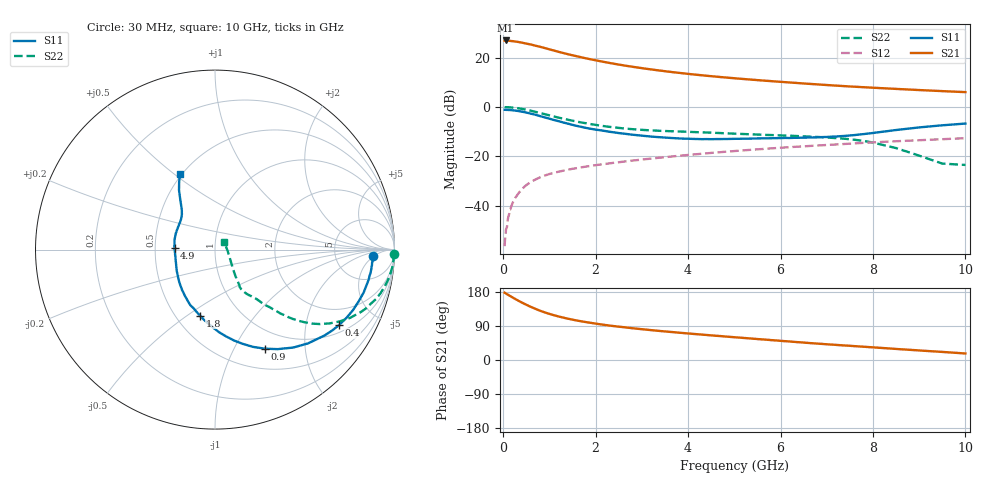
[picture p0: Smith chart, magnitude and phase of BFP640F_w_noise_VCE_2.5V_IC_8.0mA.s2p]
! Infineon Technologies  Discrete & RF Semiconductors
! BFP640F
! VCE =  2.5 V,  IC =  8.0 mA
! Common Emitter S-Parameters:  Apr 2013
# GHz  S  MA  R  50
!  f  S11  S21  S12  S22
! GHz  MAG  ANG  MAG  ANG  MAG  ANG  MAG  ANG
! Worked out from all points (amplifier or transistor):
!   99 points, 30 MHz to 10 GHz, reference 50 ohm
!   highest |S21| = 27.1 dB at 50 MHz (marker M1)
!   |S21| within 3 dB of that: start of sweep to 883.6 MHz
!   unconditionally stable (mu >= 1): 3.431 GHz to end of sweep
!   at 350 MHz: K = 0.16, MSG = 30.4 dB, |S12| = -34.5 dB
!   at 3.5 GHz: K = 1.00, MAG = 17.0 dB, |S12| = -20.3 dB
!   at 10 GHz: K = 1.08, MAG = 7.6 dB, |S12| = -12.6 dB
!   lowest NFmin = 0.59 dB at 450 MHz
!   S11 on the Smith chart (normalised r, x): 30 MHz: 14, -5; 400 MHz: 1.28, -3.10; 900 MHz: 0.75, -1.33; 1.8 GHz: 0.65, -0.56; 4.9 GHz: 0.63, +0.01; 10 GHz: 0.49, +0.53
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0.03  0.8817 -2.4  22.25 177.6  0.0015 86.3  0.997 -1.3
0.04  0.881 -3.1  22.24 176.9  0.0021 102.3  0.9958 -1.8
0.05  0.8806 -4.2  22.55 176.3  0.0024 69.6  0.9958 -2.5
0.12  0.8733 -9.7  22.38 170.9  0.0063 85.0  0.9922 -6.0
0.25  0.851 -19.8  21.54 161.7  0.0139 81.9  0.9666 -12.4
0.4  0.8094 -31.2  20.42 151.8  0.0209 75.1  0.9197 -19.1
0.6  0.7362 -45.2  18.64 140.0  0.0303 70.0  0.8433 -26.8
0.8  0.6553 -57.8  16.76 129.8  0.0376 65.5  0.7591 -32.8
0.9  0.6173 -63.4  15.82 125.6  0.0408 63.5  0.7179 -35.3
1.1  0.5467 -73.7  14.06 118.0  0.0464 60.6  0.6439 -39.0
1.3  0.487 -82.8  12.53 111.8  0.0512 58.6  0.5808 -41.7
1.5  0.4359 -91.2  11.27 106.5  0.0559 57.0  0.5294 -43.5
1.7  0.395 -99.1  10.21 101.9  0.06 56.0  0.4849 -45.0
1.8  0.3767 -102.9  9.741 99.8  0.0622 55.6  0.4688 -45.7
2.1  0.339 -113.8  8.54 94.2  0.0681 54.6  0.4198 -47.7
2.5  0.297 -126.4  7.308 87.9  0.0759 53.5  0.3782 -49.2
3.4  0.2442 -150.7  5.504 76.5  0.0941 51.7  0.3296 -52.1
4.9  0.2257 177.8  3.927 61.1  0.1258 47.1  0.2916 -55.1
5.1  0.2273 174.1  3.786 59.2  0.1302 46.5  0.2866 -55.4
6.7  0.242 146.9  2.933 44.1  0.1638 39.8  0.25 -56.5
8.5  0.3425 124.5  2.342 29.2  0.2028 31.4  0.1473 -47.1
10  0.4633 114.7  2.014 17.2  0.2338 23.8  0.0669 40.4
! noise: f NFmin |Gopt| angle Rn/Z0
0.45  0.59  0.27  8  0.06
0.9  0.59  0.26  20  0.07
1.5  0.62  0.25  28  0.08
1.9  0.63  0.23  41  0.09
2.4  0.67  0.2  55  0.09
3.5  0.76  0.17  82  0.11
5.5  0.97  0.15  168  0.14
10  1.57  0.41  -101  0.33
